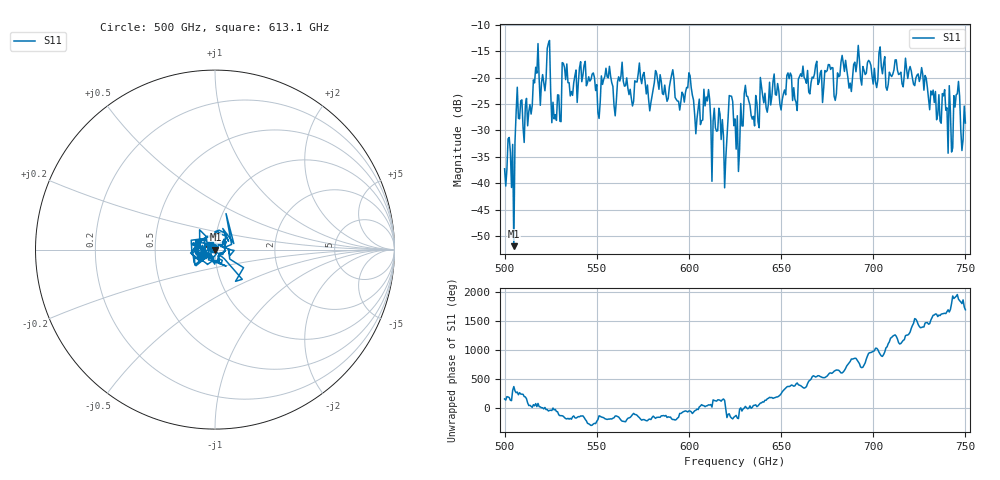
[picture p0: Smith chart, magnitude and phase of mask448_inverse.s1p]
!Created with skrf (http://scikit-rf.org).
# GHz S MA R 50.0
!freq magS11 angS11
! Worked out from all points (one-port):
!   401 points, 500 GHz to 750 GHz, reference 50 ohm
!   lowest |S11| = -51.9 dB at 505 GHz (marker M1), VSWR 1.01, Z = 50.3 + j0.0152 ohm
!   |S11| at or under -10 dB: start of sweep to end of sweep
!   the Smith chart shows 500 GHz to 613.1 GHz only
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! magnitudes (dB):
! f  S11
! 500 GHz  -37.3
! 505 GHz  -51.9
! 507.5 GHz  -27.7
! 513.8 GHz  -25.1
! 516.9 GHz  -18.0
! 520.6 GHz  -19.4
! 523.8 GHz  -13.5
! 526.9 GHz  -27.8
! 531.2 GHz  -17.2
! 542.5 GHz  -19.5
! 550.6 GHz  -26.7
! 562.5 GHz  -20.7
! 590.6 GHz  -19.5
! 593.8 GHz  -24.4
! 609.4 GHz  -23.7
! 618.8 GHz  -31.0
! 622.5 GHz  -23.5
! 625 GHz  -27.8
! 656.2 GHz  -24.3
! 680 GHz  -23.1
! 683.8 GHz  -17.2
! 687.5 GHz  -21.1
! 691.2 GHz  -17.1
! 718.8 GHz  -20.2
! 738.8 GHz  -22.3
! 741.9 GHz  -26.4
! 745 GHz  -23.3
! 750 GHz  -28.6
